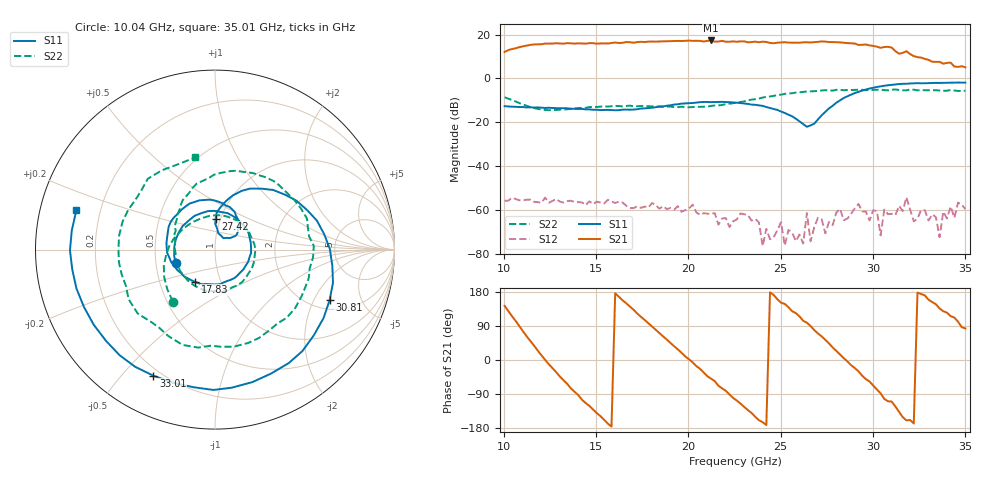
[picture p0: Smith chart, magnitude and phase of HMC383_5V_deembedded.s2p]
!Hittite Microwave Corporation
!20 Alpha Road
!Chelmsford, MA 01824
!Tel: 978-250-3343
!Fax: 978-250-3373
!Device: HMC383, 12-30 GHz, Driver Amplifier Die
!Misc: Vcc = 5V, data includes two K connectors, Room
# MHZ S MA R 50
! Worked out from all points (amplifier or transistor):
!   126 points, 10.04 GHz to 35.01 GHz, reference 50 ohm
!   highest |S21| = 17.3 dB at 21.22 GHz (marker M1)
!   |S21| within 3 dB of that: 10.86 GHz to 30.27 GHz (19.41 GHz wide, 94.4 % of centre) (the widest 1 of 2)
!   unconditionally stable (mu >= 1): start of sweep to end of sweep
!   at 14.23 GHz: K = 49.12, MAG = 16.3 dB, |S12| = -56.6 dB
!   at 22.62 GHz: K = 101.05, MAG = 17.4 dB, |S12| = -64.3 dB
!   at 35.01 GHz: K = 69.10, MAG = 11.0 dB, |S12| = -59.7 dB
!   S11 on the Smith chart (normalised r, x): 10.04 GHz: 0.63, -0.10; 17.83 GHz: 0.76, -0.29; 27.42 GHz: 0.95, +0.34; 30.81 GHz: 2.44, -2.68; 33.01 GHz: 0.17, -0.61; 35.01 GHz: 0.11, +0.14
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10037.5  0.233 -160.6  4.032 142.7  0.00162 -18.5  0.373 -129.0
11036.25  0.223 143.8  5.411 75.5  0.001655 -24.4  0.255 175.1
12234.75  0.212 80.5  6.245 0.4  0.001908 -44.3  0.191 118.3
13433.25  0.209 27.3  6.41 -63.1  0.001596 -65.9  0.198 62.4
14232.25  0.202 -4.8  6.286 -105.0  0.001484 -76.6  0.213 25.4
16030  0.188 -68.0  6.593 176.2  0.001443 -96.0  0.236 -50.6
17827.75  0.211 -121.1  6.919 96.9  0.001134 -112.0  0.232 -113.6
18427  0.228 -138.8  6.975 71.0  0.001069 -114.1  0.23 -131.9
20025  0.273 172.3  7.307 1.9  0.00107 -143.5  0.22 -173.9
21223.5  0.288 136.4  7.363 -49.2  0.0008192 -145.6  0.236 164.0
22621.75  0.28 96.4  6.859 -107.2  0.0006114 -131.1  0.284 137.7
24219.75  0.223 58.6  6.805 -171.7  0.000371 161.6  0.382 105.4
25218.5  0.163 38.5  6.729 148.1  0.0001546 -17.0  0.445 79.2
26816.5  0.093 78.8  6.741 79.0  0.000405 -72.8  0.512 37.2
27415.75  0.173 88.8  6.918 53.2  0.0002932 -82.7  0.541 18.5
28214.75  0.317 71.9  6.64 14.4  0.001062 -77.4  0.548 -4.5
29013.75  0.464 45.7  6.268 -21.3  0.001095 -100.3  0.548 -28.5
30811.5  0.698 -23.9  5.273 -108.9  0.0008024 -116.4  0.536 -92.6
31011.25  0.715 -32.2  5.076 -109.7  0.0008139 -94.2  0.554 -99.7
31810.25  0.758 -65.7  4.181 -159.2  0.001955 -179.6  0.537 -130.9
33008.75  0.782 -116.0  2.663 159.2  0.0005728 109.8  0.538 179.7
35006.25  0.803 164.2  1.794 83.2  0.00104 72.7  0.525 102.1
